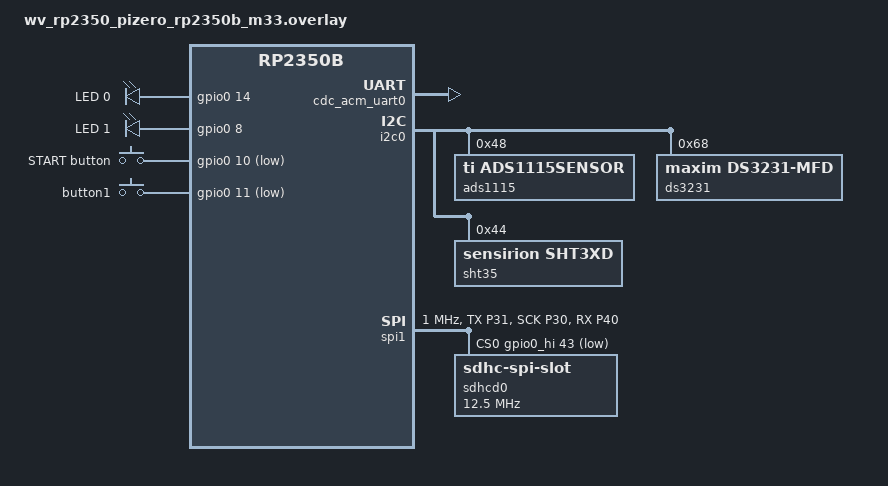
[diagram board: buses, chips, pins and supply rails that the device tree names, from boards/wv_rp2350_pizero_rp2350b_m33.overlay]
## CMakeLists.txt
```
cmake_minimum_required(VERSION 3.20.0)

list(APPEND ZEPHYR_EXTRA_MODULES
    ${CMAKE_CURRENT_SOURCE_DIR}/drivers
)


find_package(Zephyr)
project(CaloBus)


#add_subdirectory(rivers)

set (APP_SOURCES

    src/main.cpp

    src/calo_time.c
    src/filesystem.cpp
    src/health_check.cpp
    src/zbus_channels.c

    src/measure/datalogger.cpp
    src/measure/processor.cpp
    src/measure/sensor.cpp
    src/measure/toggle.cpp

    src/interface/init.c
    src/interface/leds.c

)

macro(add_source_if_def config_option file)
    if(DEFINED ${config_option})
        list(APPEND APP_SOURCES ${file})
    endif()
endmacro()

add_source_if_def(CONFIG_SHELL src/interface/shell.c)
add_source_if_def(CONFIG_INPUT src/interface/input.c)

target_sources(app PRIVATE ${APP_SOURCES})

target_include_directories(app PRIVATE include)
```

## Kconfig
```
# Copyright (c) 2026 Fabien Georget
# SPDX-License-Identifier: Apache-2.0
#
menu "Zephyr"
source "Kconfig.zephyr"
endmenu

menu "Calobus"

config HEARTBEAT_MSEC
    int "Measurement heartbeat in msec"
    default 100
    help
        The default measurement period

config OVERSAMPLING
    int "Number of samples to average"
    default 10
    help
        The number of samples to average

config HEALTHCHECK_BEAT_SECONDS
    int "Health Check period in seconds"
    default 60
    help
        The default health check period

config SDLOGGING
    bool "Enable SDlogging"
    default y
    help
        If true, enable SD logging

endmenu

#rsource "drivers/Kconfig"
```

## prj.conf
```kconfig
# SPDX-FileCopyrightText: Copyright Fabien Georget
# SPDX-License-Identifier: Apache-2.0
#
# specific for Calobus
# --------------------
CONFIG_HEARTBEAT_MSEC=250
CONFIG_OVERSAMPLING=10

CONFIG_SDLOGGING=y

# Zephyr
# ======

CONFIG_CPP=y
CONFIG_STD_CPP23=y
CONFIG_REQUIRES_FULL_LIBCPP=y
#CONFIG_EXTERNAL_LIBC=y
#CONFIG_GLIBCXX_LIBCPP=y

# CONFIG_DEBUG=y

# kernel
# ------
CONFIG_MAIN_STACK_SIZE=8192
# for MCUMGR
CONFIG_SYSTEM_WORKQUEUE_STACK_SIZE=2304

# Hardware
# --------

CONFIG_GPIO=y
CONFIG_INPUT=y
CONFIG_POLL=y
CONFIG_RTC=y

CONFIG_SENSOR=y

CONFIG_SERIAL=y
CONFIG_CONSOLE=y
CONFIG_UART_CONSOLE=y
CONFIG_UART_LINE_CTRL=y

# Filesystem
# ----------

CONFIG_DISK_ACCESS=y
CONFIG_DISK_DRIVERS=y

CONFIG_FILE_SYSTEM=y
#CONFIG_FAT_FILESYSTEM_ELM=y
#CONFIG_FS_FATFS_MOUNT_MKFS=y
#CONFIG_FS_FATFS_EXFAT=y

CONFIG_FILE_SYSTEM_LITTLEFS=y
CONFIG_FS_LITTLEFS_BLK_DEV=y
CONFIG_FS_LITTLEFS_FMP_DEV=n
CONFIG_FS_LITTLEFS_FC_HEAP_SIZE=2048
CONFIG_FS_LITTLEFS_CACHE_SIZE=512

# ZBUS
# ----

CONFIG_ZBUS=y

# Shell
# -----

CONFIG_SHELL=y
CONFIG_FILE_SYSTEM_SHELL=y
CONFIG_RTC_SHELL=y

# MCUmgr
# ------

CONFIG_NET_BUF=y
CONFIG_ZCBOR=y
CONFIG_CRC=y
CONFIG_MCUMGR=y
CONFIG_STATS=y
CONFIG_BASE64=y
CONFIG_MCUMGR_GRP_IMG=n
CONFIG_MCUMGR_GRP_OS=y
CONFIG_MCUMGR_GRP_OS_MCUMGR_PARAMS=y
CONFIG_MCUMGR_GRP_STAT=n
CONFIG_MCUMGR_GRP_OS_TASKSTAT=n
CONFIG_MCUMGR_GRP_FS=y
CONFIG_MCUMGR_GRP_SHELL=y
CONFIG_MCUMGR_TRANSPORT_SHELL=y
CONFIG_SHELL_BACKEND_DUMMY=y
## this might or might not be a good thing....
CONFIG_MCUMGR_TRANSPORT_SHELL_MTU=2046
CONFIG_MCUMGR_TRANSPORT_NETBUF_SIZE=2048

# Log and Print
# -------------

CONFIG_LOG=y
CONFIG_LOG_DEFAULT_LEVEL=2
CONFIG_LOG_PRINTK=y
CONFIG_LOG_MODE_IMMEDIATE=y
CONFIG_LOG_RATELIMIT=n

CONFIG_PRINTK=y
CONFIG_REQUIRES_FLOAT_PRINTF=y
CONFIG_CBPRINTF_LIBC_SUBSTS=y
CONFIG_CBPRINTF_FP_SUPPORT=y
```

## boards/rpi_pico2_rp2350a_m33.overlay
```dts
/* SPDX-License-Identifier: Apache-2.0 */

#include <zephyr/dt-bindings/input/input-event-codes.h>


/ {
    /*zephyr,user {
        io-channels = <&i2c_adc 0>;
    };*/
    chosen {
        zephyr,console = &cdc_acm_uart0;
    };
    aliases {
        rtc = &ds3231_rtc;
        ledok = &led0;
        ledbusy = &led1;
        fluxsensor = &ads1115;
        btnstart = &button0;
        boardt = &sht35;
    };
    leds {
        compatible = "gpio-leds";

        led0: led_0 {
            gpios = <&gpio0 14 GPIO_ACTIVE_HIGH>;
            label = "LED 0";
        };
        led1: led_1 {
            gpios = <&gpio0 8 GPIO_ACTIVE_HIGH>;
            label = "LED 1";
        };
    };
    buttons {
        compatible = "gpio-keys";
        status = "okay";

        button0: button_0 {
            gpios = <&gpio0 10 (GPIO_PULL_UP | GPIO_ACTIVE_LOW)>;
            zephyr,code = <INPUT_KEY_0>;
            label = "START button";
        };
        button1: button_1 {
            gpios = <&gpio0 11 (GPIO_PULL_UP | GPIO_ACTIVE_LOW)>;
            zephyr,code = <INPUT_KEY_1>;
        };
    };
};


&zephyr_udc0 {
	cdc_acm_uart0: cdc_acm_uart0 {
		compatible = "zephyr,cdc-acm-uart";
	};
};

&pinctrl {

};

&i2c0 {
    status = "okay";

    /*i2c_adc: ads1115@48 {
        status = "okay";
        compatible = "ti,ads1115";
        reg = <0x48>;
        #io-channel-cells = <1>;
        #address-cells = <1>;
        #size-cells = <0>;
        channel@0 {
            reg = <0>;
            zephyr,gain = "ADC_GAIN_2";
            zephyr,reference = "ADC_REF_INTERNAL";
            zephyr,acquisition-time = <ADC_ACQ_TIME_DEFAULT>;
            zephyr,differential;
            zephyr,input-positive = <0>;
            zephyr,input-negative = <3>;
            zephyr,resolution = <16>;
        };
    }; */
    ads1115: ads1115@48 {
        compatible = "custom,ads1115sensor";
        reg = <0x48>;
        status = "okay";
    };

    ds3231: ds3231@68 {
        compatible = "maxim,ds3231-mfd";
        reg = <0x68>;
        status = "disabled";

        ds3231_sensor: ds3231_sensor {
                compatible = "maxim,ds3231-sensor";
                status = "okay";
        };

        ds3231_rtc: ds3231_rtc {
                compatible = "maxim,ds3231-rtc";
                status = "okay";

                isw-gpios = <&gpio0 6 (GPIO_PULL_UP | GPIO_ACTIVE_LOW)>;
                //freq-32khz-gpios = <&gpio0 33 (GPIO_PULL_UP | GPIO_ACTIVE_LOW)>;
        };

    };
    sht35: sht35@44 {
        compatible = "sensirion,sht3xd";
        reg = <0x44>;
        status = "okay";
    };
};

&spi0 {
        status = "okay";
        cs-gpios = <&gpio0 17 GPIO_ACTIVE_LOW>;

        sdhc0: sdhc@0 {
                compatible = "zephyr,sdhc-spi-slot";
                reg = <0>;
                status = "okay";
                mmc {
                    compatible = "zephyr,sdmmc-disk";
                    disk-name = "SD";
                    status = "okay";
                };
                spi-max-frequency = <24000000>;
        };
};
```

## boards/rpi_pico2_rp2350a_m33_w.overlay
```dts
/* SPDX-License-Identifier: Apache-2.0 */

#include <zephyr/dt-bindings/input/input-event-codes.h>


/ {
    zephyr,user {
        //io-channels = <&i2c_adc 0>;
    };
    chosen {
        zephyr,console = &cdc_acm_uart0;
        zephyr,shell-uart = &cdc_acm_uart0;
    };
    aliases {
        rtc = &ds3231_rtc;
        ledok = &led0;
        ledbusy = &led1;
        fluxsensor = &i2c_adc;
        btnstart = &button0;
        boardt = &ds3231_sensor;
        fluxsensor = &ads1115;
    };
    leds {
        compatible = "gpio-leds";

        led0: led_0 {
            gpios = <&gpio0 14 GPIO_ACTIVE_HIGH>;
            label = "LED 0";
        };
        led1: led_1 {
            gpios = <&gpio0 8 GPIO_ACTIVE_HIGH>;
            label = "LED 1";
        };
    };
    buttons {
        compatible = "gpio-keys";
        status = "okay";

        button0: button_0 {
            gpios = <&gpio0 10 (GPIO_PULL_UP | GPIO_ACTIVE_LOW)>;
            zephyr,code = <INPUT_KEY_0>;
            label = "START button";
        };
        button1: button_1 {
            gpios = <&gpio0 11 (GPIO_PULL_UP | GPIO_ACTIVE_LOW)>;
            zephyr,code = <INPUT_KEY_1>;
        };
    };
};


&zephyr_udc0 {
	cdc_acm_uart0: cdc_acm_uart0 {
		compatible = "zephyr,cdc-acm-uart";
	};
};

&pinctrl {

};

&i2c0 {
    status = "okay";

    /*i2c_adc: ads1115@48 {
        status = "okay";
        compatible = "ti,ads1115";
        reg = <0x48>;
        #io-channel-cells = <1>;
        #address-cells = <1>;
        #size-cells = <0>;
        channel@0 {
            reg = <0>;
            zephyr,gain = "ADC_GAIN_2";
            zephyr,reference = "ADC_REF_INTERNAL";
            zephyr,acquisition-time = <ADC_ACQ_TIME_DEFAULT>;
            zephyr,differential;
            zephyr,input-positive = <0>;
            zephyr,input-negative = <3>;
            zephyr,resolution = <16>;
        };
    }; */
    ads1115: ads1115@48 {
        compatible = "ti,ads1115sensor";
        reg = <0x48>;
        status = "okay";
    };

    ds3231: ds3231@68 {
        compatible = "maxim,ds3231-mfd";
        reg = <0x68>;
        status = "okay";

        ds3231_sensor: ds3231_sensor {
                compatible = "maxim,ds3231-sensor";
                status = "okay";
        };

        ds3231_rtc: ds3231_rtc {
                compatible = "maxim,ds3231-rtc";
                status = "okay";

                isw-gpios = <&gpio0 6 (GPIO_PULL_UP | GPIO_ACTIVE_LOW)>;
                //freq-32khz-gpios = <&gpio0 33 (GPIO_PULL_UP | GPIO_ACTIVE_LOW)>;
        };

    };
    sht35: sht35@44 {
        compatible = "sensirion,sht3xd";
        reg = <0x44>;
        status = "disabled";
    };
};

&spi0 {
        status = "okay";
        cs-gpios = <&gpio0 17 GPIO_ACTIVE_LOW>;

        sdhc0: sdhc@0 {
                compatible = "zephyr,sdhc-spi-slot";
                reg = <0>;
                status = "okay";
                mmc {
                    compatible = "zephyr,sdmmc-disk";
                    disk-name = "SD";
                    status = "okay";
                };
                spi-max-frequency = <24000000>;
        };
};
```

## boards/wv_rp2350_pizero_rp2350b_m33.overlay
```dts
/* SPDX-License-Identifier: Apache-2.0 */

#include <zephyr/dt-bindings/input/input-event-codes.h>


/ {
    /*zephyr,user {
        io-channels = <&i2c_adc 0>;
    };*/
    chosen {
        zephyr,console = &cdc_acm_uart0;
    };
    aliases {
        rtc = &ds3231_rtc;
        ledok = &led0;
        ledbusy = &led1;
        fluxsensor = &ads1115;
        btnstart = &button0;
        boardt = &sht35;
    };
    leds {
        compatible = "gpio-leds";

        led0: led_0 {
            gpios = <&gpio0 14 GPIO_ACTIVE_HIGH>;
            label = "LED 0";
        };
        led1: led_1 {
            gpios = <&gpio0 8 GPIO_ACTIVE_HIGH>;
            label = "LED 1";
        };
    };
    buttons {
        compatible = "gpio-keys";
        status = "okay";

        button0: button_0 {
            gpios = <&gpio0 10 (GPIO_PULL_UP | GPIO_ACTIVE_LOW)>;
            zephyr,code = <INPUT_KEY_0>;
            label = "START button";
        };
        button1: button_1 {
            gpios = <&gpio0 11 (GPIO_PULL_UP | GPIO_ACTIVE_LOW)>;
            zephyr,code = <INPUT_KEY_1>;
        };
    };
};


&zephyr_udc0 {
	cdc_acm_uart0: cdc_acm_uart0 {
		compatible = "zephyr,cdc-acm-uart";
	};
};

&pinctrl {

};

&i2c0 {
    status = "okay";

    /*i2c_adc: ads1115@48 {
        status = "okay";
        compatible = "ti,ads1115";
        reg = <0x48>;
        #io-channel-cells = <1>;
        #address-cells = <1>;
        #size-cells = <0>;
        channel@0 {
            reg = <0>;
            zephyr,gain = "ADC_GAIN_2";
            zephyr,reference = "ADC_REF_INTERNAL";
            zephyr,acquisition-time = <ADC_ACQ_TIME_DEFAULT>;
            zephyr,differential;
            zephyr,input-positive = <0>;
            zephyr,input-negative = <3>;
            zephyr,resolution = <16>;
        };
    }; */
    ads1115: ads1115@48 {
        compatible = "ti,ads1115sensor";
        reg = <0x48>;
        status = "okay";
    };

    ds3231: ds3231@68 {
        compatible = "maxim,ds3231-mfd";
        reg = <0x68>;
        status = "okay";

        ds3231_sensor: ds3231_sensor {
                compatible = "maxim,ds3231-sensor";
                status = "okay";
        };

        ds3231_rtc: ds3231_rtc {
                compatible = "maxim,ds3231-rtc";
                status = "okay";

                isw-gpios = <&gpio0 6 (GPIO_PULL_UP | GPIO_ACTIVE_LOW)>;
                //freq-32khz-gpios = <&gpio0 33 (GPIO_PULL_UP | GPIO_ACTIVE_LOW)>;
        };

    };
    sht35: sht35@44 {
        compatible = "sensirion,sht3xd";
        reg = <0x44>;
        status = "okay";
    };
};

&pinctrl {
    spi1_hi: spi1_hi {
        group1 {
            pinmux = <SPI1_TX_P31>;
            drive-strength = <2>;
        };

        group2 {
            pinmux = <SPI1_SCK_P30>;
            drive-strength = <12>;
        };

        group3 {
            pinmux = <SPI1_RX_P40>;
            input-enable;
            bias-disable;
        };
    };
};

&spi1 {
        status = "okay";
        clock-frequency = <DT_FREQ_M(1)>;
        cs-gpios = <&gpio0_hi 43 GPIO_ACTIVE_LOW>;
        pinctrl-0 = <&spi1_hi>;
        pinctrl-names = "default";

        sdhcd0: sdhc@0 {
                compatible = "zephyr,sdhc-spi-slot";
                reg = <0>;
                status = "okay";
                spi-max-frequency = <12500000>;
                //cd-gpios = <&gpio0 22 GPIO_ACTIVE_HIGH>;
                //power-delay-ms = <5>;
                sdmmc {
                    compatible = "zephyr,sdmmc-disk";
                    disk-name = "SD";
                    status = "okay";
                };
        };

};
```

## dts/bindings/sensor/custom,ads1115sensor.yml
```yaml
# Copyright (c) 2026 Fabien Georget
# SPDX-License-Identifier: Apache-2.0

description: |
  An test to use ADS1115 in sensor API

    ads1115sensor {
        compatible = "ti,ads1115sensor";
    };

compatible: "ti,ads1115sensor"

include: [sensor-device.yaml, i2c-device.yaml]
```

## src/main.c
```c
/*
 * Copyright (c) 2026 Fabien Georget <fabien.georget@usherbrooke.ca>
 * SPDX-Licence-Identifier: Apache-2.0
 */

#include "calo_time.h"
#include "filesystem.h"
#include "interface/init.h"
#include "measure/toggle.h"

int main() {
    init_time();
    init_filesystem();
    init_interface();
    set_measurement_ready();
    return 0;
}
```

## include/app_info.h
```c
/*
 * Copyright (c) 2026 Fabien Georget <fabien.georget@usherbrooke.ca>
 * SPDX-Licence-Identifier: Apache-2.0
 */

#pragma once

#include <zephyr/zbus/zbus.h>
#include <stdint.h>

/* The information stored in app_info channel of zbus
 *
 *  Generic info about the firmware
 *
 */
struct app_info_msg {
    const char name[32];
    const struct  {
        uint8_t major;
        uint8_t minor;
    } firmware_version;
    const struct {
        uint8_t major;
        uint8_t minor;
    } hardware_version;
};

ZBUS_CHAN_DECLARE(app_info_chan);
```

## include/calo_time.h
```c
// SPDX-FileCopyrightText: Copyright Fabien Georget
// SPDX-License-Identifier: Apache-2.0 
//

#pragma once
/*
 * This module provide time utilities
 *
 */


#ifdef __cplusplus
extern "C" {
#endif

struct tm;

// init time - call once after reset
int init_time();

// return the wall time
int get_time(struct tm *tm);

// return the wall time as a string
int get_time_string(struct tm *tm, char *buf, int offset);

#ifdef __cplusplus
}
#endif
```

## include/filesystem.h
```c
/*
 * Copyright (c) 2026 Fabien Georget <fabien.georget@usherbrooke.ca>
 * SPDX-Licence-Identifier: Apache-2.0
 */

#pragma once

#include <time.h>

#define DISK_DRIVE_NAME "SD"
#define DISK_MOUNT_POINT "/SD:"

#ifdef __cplusplus
extern "C" {
#endif


// Return a full path at the root of the SD card
void get_sd_full_path(char *path, const char* filename);

// Return a path with a timed suffix
void get_sd_timed_path(char *path,
                       const char* prefix,
                       struct tm* tm,
                       const char* suffix
                      );

#ifdef __cplusplus
}
#endif
```

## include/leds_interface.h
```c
/*
 * Copyright (c) 2026 Fabien Georget <fabien.georget@usherbrooke.ca>
 * SPDX-Licence-Identifier: Apache-2.0
 */

#pragma once

#include <zephyr/zbus/zbus.h>

int ledbusy_init();
void listener_ledbusy_set(const struct zbus_channel *chan);

int ledon_init();
void ledon_start();
```

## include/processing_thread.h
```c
/*
 * Copyright (c) 2026 Fabien Georget <fabien.georget@usherbrooke.ca>
 * SPDX-Licence-Identifier: Apache-2.0
 */

#pragma once

#include <stdint.h>
#include <stdbool.h>
#include <zephyr/zbus/zbus.h>

struct processing_thread_msg {
    bool to_save;
    int32_t value;
    int64_t timestamp;
};
```

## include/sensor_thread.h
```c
/*
 * Copyright (c) 2026 Fabien Georget <fabien.georget@usherbrooke.ca>
 * SPDX-Licence-Identifier: Apache-2.0
 */

#pragma once

#include <stdint.h>
#include <stdbool.h>
#include <zephyr/drivers/sensor.h>

// The zbus message containing the raw data
struct sensor_data_msg {
    struct sensor_value uv;
    bool ok;
};

// Zbus msg to set an attribute
struct sensor_attr_msg {
    enum sensor_attribute attr;
    struct sensor_value val;
};

void get_current_fsr(struct sensor_value *val);
```

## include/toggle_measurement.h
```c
/*
 * Copyright (c) 2026 Fabien Georget <fabien.georget@usherbrooke.ca>
 * SPDX-Licence-Identifier: Apache-2.0
 */

#pragma once

#include "zephyr/zbus/zbus.h"
#include <stdbool.h>

/* Start a measurement
 *
 * Return true if measurement successfully started
 */
bool start_measurement();

/* Stop a measurement
 *
 * Return false if measurement successfully stopped
 */
bool end_measurement();

ZBUS_CHAN_DECLARE(start_measure_chan);
ZBUS_CHAN_DECLARE(start_trigger_chan);
ZBUS_CHAN_DECLARE(end_measure_chan);
```

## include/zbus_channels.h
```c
/*
 * Copyright (c) 2026 Fabien Georget <fabien.georget@usherbrooke.ca>
 * SPDX-Licence-Identifier: Apache-2.0
 */

#pragma once

#include <zephyr/zbus/zbus.h>
#include <zephyr/drivers/sensor.h>

#ifdef __cplusplus
extern "C" {
#endif

struct processing_thread_msg {
    bool to_save;
    int32_t value;
    int64_t timestamp;
};
//
// The zbus message containing the raw data
struct sensor_data_msg {
    struct sensor_value uv;
    bool ok;
};

// Zbus msg to set an attribute
struct sensor_attr_msg {
    enum sensor_attribute attr;
    struct sensor_value val;
};

ZBUS_OBS_DECLARE(sensor_thread_sub);
ZBUS_OBS_DECLARE(processing_thread_sub);
ZBUS_OBS_DECLARE(datalogger_thread_sub);

ZBUS_CHAN_DECLARE(measurement_ready_chan);
ZBUS_CHAN_DECLARE(measurement_busy_chan);
ZBUS_CHAN_DECLARE(start_measure_chan);
ZBUS_CHAN_DECLARE(end_measure_chan);

ZBUS_CHAN_DECLARE(start_trigger_chan);
ZBUS_CHAN_DECLARE(sensor_data_chan);
ZBUS_CHAN_DECLARE(processing_thread_chan);
ZBUS_CHAN_DECLARE(sensor_attr_chan);
ZBUS_CHAN_DECLARE(end_onebeat_chan) ;

#ifdef __cplusplus
} // extern C
#endif
```

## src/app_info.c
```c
/*
 * Copyright (c) 2026 Fabien Georget <fabien.georget@usherbrooke.ca>
 * SPDX-Licence-Identifier: Apache-2.0
 */

#include "app_info.h"

#include <zephyr/kernel.h>
#include <zephyr/zbus/zbus.h>

ZBUS_CHAN_DEFINE(
    app_info_chan,
    struct app_info_msg,
    NULL,
    NULL,
    ZBUS_OBSERVERS_EMPTY,
    ZBUS_MSG_INIT(.name = "CaloBus",
                  .firmware_version={0, 1},
                  .hardware_version={0, 1})
);
```

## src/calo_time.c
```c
// SPDX-FileCopyrightText: Copyright Fabien Georget
// SPDX-License-Identifier: Apache-2.0 

#include "calo_time.h"

#ifdef CONFIG_POSIX_API
#define _POSIX_C_SOURCE 200112L
#include <time.h>
#endif

#include <zephyr/sys/clock.h>
#include <zephyr/kernel.h>
#include <zephyr/drivers/rtc.h>
#include <zephyr/logging/log.h>
#include <zephyr/sys/timeutil.h>



LOG_MODULE_REGISTER(time, CONFIG_LOG_DEFAULT_LEVEL);

#ifdef CONFIG_RTC_EMUL
#include <native_rtc.h>
#endif

// The real time clock device
static const struct device *const rtc = DEVICE_DT_GET(DT_ALIAS(rtc));

#ifdef CONFIG_RTC_EMUL
// Initialize the emulated rtc device for native_sim
void init_time_emul()
{
        struct timespec ts ={.tv_sec=0,.tv_nsec=0};
        uint32_t nsec = 0;
        native_rtc_gettime(RTC_CLOCK_PSEUDOHOSTREALTIME, &nsec, (uint64_t*) &ts.tv_sec);
        struct rtc_time tm;
        gmtime_r(&ts.tv_sec, rtc_time_to_tm(&tm));
        rtc_set_time(rtc, &tm);
}
#endif

#ifdef CONFIG_RTC
// Initialize the sysclock by synchronisation with the external rtc
static int set_time_from_external_rtc() {
    struct rtc_time tm;
    struct timespec tp;

    int ret = rtc_get_time(rtc, &tm);
    if (ret <0) {
        LOG_ERR("Cannot get RTC time ! return code : %d", ret);
        return ret;
    }
    tp.tv_sec = timeutil_timegm(rtc_time_to_tm(&tm));
    if (tp.tv_sec == -1) {
        LOG_ERR("Cannot calculated seconds since EPOCH");
        return ret;
    }
    tp.tv_nsec = 0;

    sys_clock_settime(SYS_CLOCK_REALTIME, &tp);
    return 0;
}
#endif

int get_time(struct tm *tm)
{
    struct timespec tp;
    sys_clock_gettime(SYS_CLOCK_REALTIME, &tp);
    gmtime_r(&tp.tv_sec, tm);
    return 0;
}

int get_time_string(struct tm *tm, char *buf, int offset)
{
    snprintfcb(&buf[offset], 15,
               "%02d%02d%02d_%02d%02d%02d",
                tm->tm_year-100,
                tm->tm_mon+1,
                tm->tm_mday,
                tm->tm_hour,
                tm->tm_min,
                tm->tm_sec
               );
    return 0;
}

int init_time() 
{
    #ifdef CONFIG_RTC_EMUL
    init_time_emul();
    #endif

    #ifdef CONFIG_RTC
    set_time_from_external_rtc();
    #endif

    return 0;
}
```

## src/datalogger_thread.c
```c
/*
 * Copyright (c) 2026 Fabien Georget <fabien.georget@usherbrooke.ca>
 * SPDX-Licence-Identifier: Apache-2.0
 *
 * datalogger_thread
 * -----------------
 *
 *  The thread responsible for datalogging
 *
 *  Datalogging occurs on:
 *      On LOG_PRINTK output
 *      SD card: /SD:/m<date><time>.dat if CONFIG_SDLOGGING
 *
 * This thread is responsible for handling file creation, opening and closing
 */

#include "processing_thread.h"
#include "toggle_measurement.h"
#include "zbus_channels.h"
#include <zephyr/drivers/rtc.h>

#include <stdint.h>
#include <stdio.h>
#include <zephyr/kernel.h>
#include <zephyr/logging/log.h>

#ifdef CONFIG_SDLOGGING
#include "filesystem.h"
#include <zephyr/fs/fs.h>
#endif

LOG_MODULE_REGISTER(datalogger_thread, LOG_LEVEL_INF);

// ---- Static global variables ------------------

// File handlers
#ifdef CONFIG_SDLOGGING
    static struct fs_file_t file;
    static bool file_is_open = false;
#endif

// Time at the start of the measurement
static int64_t timestamp_0;

// The real time clock
static const struct device *const rtc = DEVICE_DT_GET(DT_ALIAS(rtc));

// ---- helper functions --------------------------


// Log one timepoint onto the sd card
static int datasdlog_one(struct processing_thread_msg* processed_data) {
    if (!file_is_open) {
        LOG_DBG("Datalogging file not open - no logging");
        return -EIO;
    }
    char buf[128];
    sprintf(buf, "%lld,%"PRId32"\n",
            processed_data->timestamp-timestamp_0,
            processed_data->value);
    return fs_write(&file, buf, strlen(buf));
}

// Log one data-point
static int datalog_one() {
    struct processing_thread_msg processed_data;
    int return_code =  zbus_chan_read(&processing_thread_chan,
                             &processed_data, K_MSEC(98));
    if (return_code != 0) {
        LOG_WRN("Could not read processed data channel. Error code: %d", return_code);
    }
    LOG_PRINTK("%lld,%d\n", processed_data.timestamp - timestamp_0, processed_data.value);

    #ifdef CONFIG_SDLOGGING
        return_code = datasdlog_one(&processed_data);
    #endif // CONFIG_SDLOGGING
    return return_code;
}

// Setup the datlogging at the start of the measurement
static int datalog_setup() {
    struct rtc_time tm;
    int ret = rtc_get_time(rtc, &tm);
    timestamp_0 = k_uptime_get();
    if (ret <0) {
        LOG_ERR("Cannot get RTC time !");
    }
    LOG_PRINTK("#Initial timestamp: ");
    LOG_PRINTK("%02d%02d%02d_%02d%02d%02d ",
                tm.tm_year-100,
                tm.tm_mon+1,
                tm.tm_mday,
                tm.tm_hour,
                tm.tm_min,
                tm.tm_sec);
    LOG_PRINTK("%lld\n", timestamp_0);

    #ifdef CONFIG_SDLOGGING
    fs_file_t_init(&file);
    if (!file_is_open) {
        char path[128];
        get_sd_timed_path(path, "m", &tm, ".dat");

        int rc = fs_open(&file, path, FS_O_CREATE | FS_O_RDWR | FS_O_APPEND); 
        if (rc != 0) {
            LOG_ERR("Failed to open file %s", path);
        } else {
            file_is_open = true;
        }
    }
    #endif
    return 0;
}

// Clean the datalogging environment at the end of the measurement
static int datalog_end() {
    if (file_is_open) {
        fs_close(&file);
        file_is_open = false;
    }
    LOG_DBG("Datalogging end");
    return 0;
}

// ----- Thread ----------------------------------------

void datalogger_thread(void) {
    const struct zbus_channel* chan;
    while(1) {
        zbus_sub_wait(&datalogger_thread_sub, &chan, K_FOREVER);

        if (&processing_thread_chan == chan){
            int rc = datalog_one();
            zbus_chan_pub(&end_onebeat_chan, &rc, K_MSEC(98));
        } else if (&start_measure_chan == chan) {
            datalog_setup();
        } else if (&end_measure_chan == chan) {
            datalog_end();
        }
    }
}

K_THREAD_DEFINE(datalogger_thread_id,
                2048,
                datalogger_thread,
                NULL, NULL, NULL,
                CONFIG_DATALOGGER_THREAD_PRIORITY, 0,
                1000);
```

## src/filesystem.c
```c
/*
 * Copyright (c) 2026 Fabien Georget <fabien.georget@usherbrooke.ca>
 * SPDX-Licence-Identifier: Apache-2.0
 */

#include "filesystem.h"
#include <string.h>
#include <zephyr/kernel.h>
#include "calo_time.h"

#include <zephyr/device.h>
#include <zephyr/storage/disk_access.h>
#include <zephyr/logging/log.h>
#include <zephyr/fs/fs.h>

LOG_MODULE_REGISTER(filesystem, LOG_LEVEL_INF);

#ifdef CONFIG_FAT_FILESYSTEM_ELM
#include <ff.h>

static FATFS fat_fs;

static struct fs_mount_t mp_sd = {
    .type = FS_FATFS,
    .fs_data = &fat_fs,
};

#define FS_RET_OK FR_OK
#endif


static const char *disk_mount_pt = DISK_MOUNT_POINT;

void init_filesystem()
{
    #ifdef CONFIG_SDLOGGING
    LOG_INF("Initializing SD card");
    int ret = init_sd_card();
    if (ret < 0) {
        LOG_ERR("No SD card");
    }
    LOG_INF("Init SD card done");
    #endif
}

int init_sd_card()
{
    do {
        static const char *disk_pdrv = DISK_DRIVE_NAME;
        
        int ret=-1;
        int try=0;
        while (try <5) { 
            ret = disk_access_ioctl(disk_pdrv, DISK_IOCTL_CTRL_INIT, NULL);
            if (ret == 0) {break;}
            LOG_WRN("could not access SD card - retry");
            ++try;
            k_sleep(K_MSEC(500));
        }
        if ( ret !=0 ) {
            LOG_ERR("SD card could not be initialized");
            break;
        }

        int64_t memory_size_mb;
        uint32_t block_count;
        uint32_t block_size;
        if (disk_access_ioctl(disk_pdrv,
                DISK_IOCTL_GET_SECTOR_COUNT, &block_count)) {
            LOG_INF("Unable to get sector count");
            break;
        }
        LOG_INF("Block count %u", block_count);

        if (disk_access_ioctl(disk_pdrv,
                DISK_IOCTL_GET_SECTOR_SIZE, &block_size)) {
            LOG_ERR("Unable to get sector size");
            break;
        }
        LOG_INF("Sector size %u\n", block_size);

        memory_size_mb = (uint64_t)block_count * block_size;
        LOG_INF("Memory Size(MB) %u\n", (uint32_t)(memory_size_mb >> 20));

        /*
        if (disk_access_ioctl(disk_pdrv,
                DISK_IOCTL_CTRL_DEINIT, NULL) != 0) {
            LOG_ERR("Storage deinit ERROR!");
            break;
        }*/

    } while (0);


    LOG_INF("SD card disk access initialized successfully");
    k_sleep(K_SECONDS(1));

    mp_sd.mnt_point = disk_mount_pt;

    int res = fs_mount(&mp_sd);
    if (res != FS_RET_OK) {
        LOG_ERR("Error mounting disk.\n");
        return -EIO;
    }
   return 0; 
}

int de_init_sd_card() {
    static const char *disk_pdrv = DISK_DRIVE_NAME;
    int res = fs_unmount(&mp_sd);
    if (res != FS_RET_OK) {
        LOG_ERR("Error unmounting disk");
        return -EIO;
    };
    if (disk_access_ioctl(disk_pdrv,
                          DISK_IOCTL_CTRL_DEINIT, NULL) != 0) {
        LOG_ERR("SD card can not be de-initialized");
        return -EIO;
    }
    return 0;
}

void get_sd_full_path(char *path, const char* filename) {
    // TODO check
    strncpy(path, disk_mount_pt, 128);
    int base = strlen(disk_mount_pt);
    path[base++] = '/';
    path[base] = 0;
    strcat(&path[base], filename);
    return;
}

void get_sd_timed_path(char *path,
                       const char* prefix,
                       struct tm* tm,
                       const char* suffix
                       ) {
    int lenp = strlen(prefix);
    char buf[128];
    strncpy(buf, prefix, lenp);
    get_time_string(tm, buf, lenp);

   strncpy(&buf[strlen(buf)], suffix, strlen(suffix)+1); // +1 for \0

   get_sd_full_path(path, buf); 
}
```
